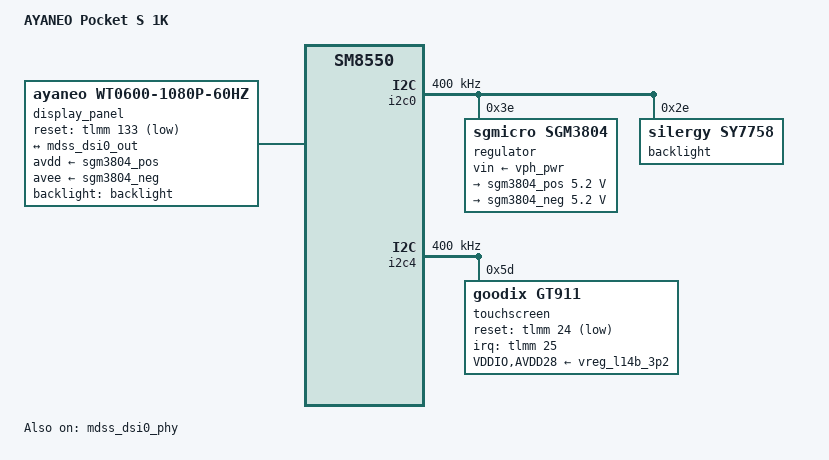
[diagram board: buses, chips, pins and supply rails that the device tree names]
// SPDX-License-Identifier: BSD-3-Clause
/*
 * Copyright (c) 2024 Linaro Limited
 * Copyright (c) 2025, Kancy Joe <kancy2333@outlook.com>
 * Copyright (c) 2025, ROCKNIX (https://github.com/ROCKNIX)
 *
 * AYANEO Pocket S 1K - 1920x1080@60Hz WT0600 video mode panel
 * Derived from qcs8550-ayaneo-pockets2k.dts
 *
 * GPIO layout and power sequence validated from stock Android DTB dump:
 *   - Panel power: SGM3804 (i2c0, 0x3e) + GPIO 72/42/152/153
 *   - Backlight: SY7758 (i2c0, 0x2e) + GPIO 41
 *   - Touch: Goodix GT911 (i2c4, 0x5d) + GPIO 24/25
 *   - Panel reset: GPIO 133
 *
 * Panel timing extracted from stock DT overlay fragment:
 *   qcom,mdss_dsi_wt0600_1080p_60hz_video
 */

/dts-v1/;

#include "qcs8550-ayaneo-pocket-common.dtsi"

/ {
	model = "AYANEO Pocket S 1K";
	compatible = "ayaneo,pocket-s1", "qcom,sm8550";
	chassis-type = "handset";
};

&tlmm {
	panel_pwr_active: panel-pwr-active-state {
		pins = "gpio72", "gpio42", "gpio152", "gpio153";
		function = "gpio";
		drive-strength = <8>;
		bias-disable;
		output-high;
	};

	panel_pwr_sleep: panel-pwr-sleep-state {
		pins = "gpio72", "gpio42", "gpio152", "gpio153";
		function = "gpio";
		output-low;
	};

	backlight_pwr_active: backlight-pwr-active-state {
		pins = "gpio41";
		function = "gpio";
		drive-strength = <8>;
		bias-disable;
		output-high;
	};

	backlight_pwr_sleep: backlight-pwr-sleep-state {
		pins = "gpio41";
		function = "gpio";
		output-low;
	};

	ts_irq: ts-irq-state {
		pins = "gpio25";
		function = "gpio";
		drive-strength = <8>;
		bias-disable;
		input-enable;
	};

	ts_reset: ts-reset-state {
		pins = "gpio24";
		function = "gpio";
		drive-strength = <8>;
		input-enable;
		bias-pull-down;
	};
};

&i2c0 {
	clock-frequency = <400000>;
	status = "okay";

	/* Screen power */
	regulator@3e {
		compatible = "sgmicro,sgm3804";
		reg = <0x3e>;
		pinctrl-0 = <&panel_pwr_active>;
		pinctrl-1 = <&panel_pwr_sleep>;
		pinctrl-names = "default", "sleep";

		vin-supply = <&vph_pwr>;

		sgm3804_pos: pos {
			regulator-name = "panel-avdd";
			regulator-min-microvolt = <5200000>;
			regulator-max-microvolt = <5200000>;
			regulator-active-discharge = <1>;
			regulator-boot-on;
			enable-gpios = <&tlmm 152 GPIO_ACTIVE_HIGH>;
		};

		sgm3804_neg: neg {
			regulator-name = "panel-avee";
			regulator-min-microvolt = <5200000>;
			regulator-max-microvolt = <5200000>;
			regulator-active-discharge = <1>;
			regulator-boot-on;
			enable-gpios = <&tlmm 153 GPIO_ACTIVE_HIGH>;
		};
	};

	/* Backlight */
	backlight: sy7758@2e {
		compatible = "silergy,sy7758";
		reg = <0x2e>;
		pinctrl-0 = <&backlight_pwr_active>;
		pinctrl-1 = <&backlight_pwr_sleep>;
		pinctrl-names = "default", "sleep";
		status = "okay";
	};
};

&i2c4 {
	status = "okay";
	clock-frequency = <400000>;

	touchscreen@5d {
		reg = <0x5d>;
		status = "okay";
		compatible = "goodix,gt911";

		interrupt-parent = <&tlmm>;
		interrupts = <25 IRQ_TYPE_EDGE_FALLING>;

		reset-gpios = <&tlmm 24 GPIO_ACTIVE_LOW>;
		VDDIO-supply = <&vreg_l14b_3p2>;
		AVDD28-supply = <&vreg_l14b_3p2>;

		touchscreen-size-x = <1080>;
		touchscreen-size-y = <1920>;

		pinctrl-names = "default";
		pinctrl-0 = <&ts_reset>, <&ts_irq>;
	};
};

/*
 * WT0600 1080p 60Hz video mode panel
 * Single DSI, 4-lane DPHY, video mode
 */
&mdss_dsi0_out {
	remote-endpoint = <&panel0_in>;
	data-lanes = <0 1 2 3>;
};

&mdss_dsi0_phy {
	vdds-supply = <&vreg_l1e_0p88>;
	status = "okay";
};

&display_panel {
	status = "okay";
	compatible = "ayaneo,wt0600-1080p-60hz";

	avdd-supply = <&sgm3804_pos>;
	avee-supply = <&sgm3804_neg>;

	reset-gpios = <&tlmm 133 GPIO_ACTIVE_LOW>;
	backlight = <&backlight>;
	rotation = <90>;

	port {
		panel0_in: endpoint {
			remote-endpoint = <&mdss_dsi0_out>;
		};
	};
};
